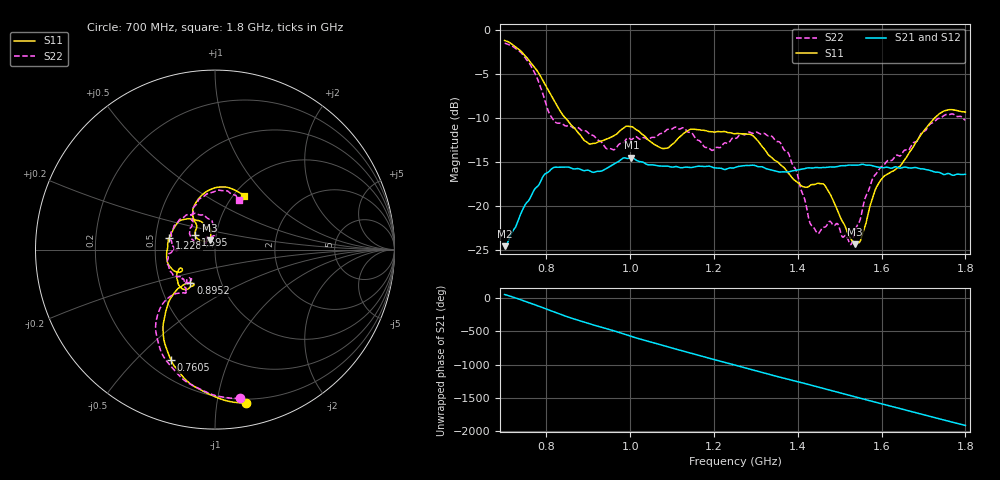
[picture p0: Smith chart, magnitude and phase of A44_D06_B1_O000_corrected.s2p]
! Created with skrf 1.9.0 (http://scikit-rf.org).
# Hz S RI R 50.0
!freq ReS11 ImS11 ReS21 ImS21 ReS12 ImS12 ReS22 ImS22
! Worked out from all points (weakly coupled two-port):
!   1601 points, 700 MHz to 1.8 GHz, reference 50 ohm
!   highest |S21| = -14.49 dB at 1.002 GHz (marker M1); lowest = -24.5 dB at 700 MHz (marker M2)
!   lowest |S11| = -24.3 dB at 1.537 GHz (marker M3), VSWR 1.13, Z = 46.9 + j5.02 ohm
!   |S11| at or under -10 dB: 845.5 MHz to 1.726 GHz (880.7 MHz wide, 68.5 % of centre)
!   |S22| runs from -24.3 to -1.5 dB; largest |S21 - S12| = 0.0034
!   S11 on the Smith chart (normalised r, x): 700 MHz: 0.17, -1.21; 760.5 MHz: 0.29, -0.64; 895.2 MHz: 0.71, -0.28; 1.228 GHz: 0.59, +0.08; 1.595 GHz: 0.79, +0.13; 1.8 GHz: 1.11, +0.76
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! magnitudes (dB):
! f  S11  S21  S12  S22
! 700 MHz  -1.2  -24.5  -24.3  -1.5
! 760.5 MHz  -3.6  -19.1  -19.0  -3.9
! 816.2 MHz  -7.8  -15.6  -15.7  -10.2
! 883.6 MHz  -12.1  -15.9  -15.8  -11.4
! 895.2 MHz  -12.7  -15.9  -16.0  -11.5
! 946.8 MHz  -12.3  -15.6  -15.6  -13.5
! 1.002 GHz  -11.0  -14.5  -14.6  -12.4
! 1.067 GHz  -13.2  -15.4  -15.4  -11.9
! 1.145 GHz  -11.2  -15.6  -15.6  -11.6
! 1.194 GHz  -11.5  -15.5  -15.5  -13.6
! 1.228 GHz  -11.6  -15.8  -15.7  -12.8
! 1.25 GHz  -11.8  -15.6  -15.5  -12.3
! 1.358 GHz  -15.3  -16.1  -16.1  -12.8
! 1.396 GHz  -17.2  -15.9  -15.9  -15.9
! 1.434 GHz  -17.5  -15.7  -15.6  -22.2
! 1.467 GHz  -17.8  -15.6  -15.6  -22.3
! 1.526 GHz  -23.6  -15.3  -15.3  -24.3
! 1.537 GHz  -24.3  -15.3  -15.3  -22.8
! 1.595 GHz  -17.2  -15.6  -15.6  -15.7
! 1.617 GHz  -16.3  -15.6  -15.6  -14.8
! 1.735 GHz  -9.6  -16.1  -16.2  -10.0
! 1.8 GHz  -9.3  -16.4  -16.4  -10.2
